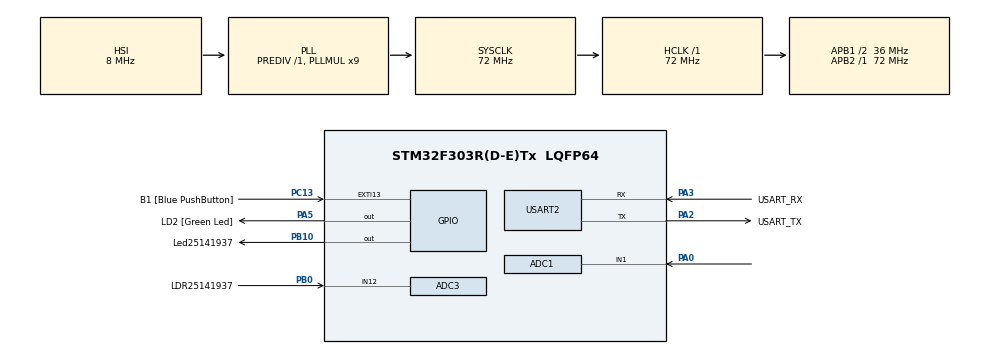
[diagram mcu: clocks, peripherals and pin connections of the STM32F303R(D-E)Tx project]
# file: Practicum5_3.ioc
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ADC1.Channel-0\#ChannelRegularConversion=ADC_CHANNEL_1
ADC1.NbrOfConversionFlag=1
ADC1.Offset-0\#ChannelRegularConversion=0
ADC1.OffsetNumber-0\#ChannelRegularConversion=ADC_OFFSET_NONE
ADC1.Rank-0\#ChannelRegularConversion=1
ADC1.SamplingTime-0\#ChannelRegularConversion=ADC_SAMPLETIME_1CYCLE_5
ADC1.master=1
ADC3.Channel-0\#ChannelRegularConversion=ADC_CHANNEL_12
ADC3.NbrOfConversionFlag=1
ADC3.Offset-0\#ChannelRegularConversion=0
ADC3.OffsetNumber-0\#ChannelRegularConversion=ADC_OFFSET_NONE
ADC3.Rank-0\#ChannelRegularConversion=1
ADC3.SamplingTime-0\#ChannelRegularConversion=ADC_SAMPLETIME_1CYCLE_5
ADC3.SamplingTimeOPAMP-0\#ChannelRegularConversion=ADC_SAMPLETIME_61CYCLES_5
ADC3.master=1
Mcu.Family=STM32F3
Mcu.Name=STM32F303R(D-E)Tx
Mcu.Package=LQFP64
NVIC.PriorityGroup=NVIC_PRIORITYGROUP_0
PA0.Mode=IN1-Single-Ended
PA0.Signal=ADC1_IN1
PA13.GPIO_Label=TMS
PA13.Mode=Serial_Wire
PA13.Signal=SYS_JTMS-SWDIO
PA14.GPIO_Label=TCK
PA14.Mode=Serial_Wire
PA14.Signal=SYS_JTCK-SWCLK
PA2.GPIO_Label=USART_TX
PA2.GPIO_Mode=GPIO_MODE_AF_PP
PA2.GPIO_PuPd=GPIO_NOPULL
PA2.GPIO_Speed=GPIO_SPEED_FREQ_LOW
PA2.Mode=Asynchronous
PA2.Signal=USART2_TX
PA3.GPIO_Label=USART_RX
PA3.GPIO_Mode=GPIO_MODE_AF_PP
PA3.GPIO_PuPd=GPIO_NOPULL
PA3.GPIO_Speed=GPIO_SPEED_FREQ_LOW
PA3.Mode=Asynchronous
PA3.Signal=USART2_RX
PA5.GPIO_Label=LD2 [Green Led]
PA5.GPIO_Mode=GPIO_MODE_OUTPUT_PP
PA5.GPIO_PuPd=GPIO_NOPULL
PA5.GPIO_Speed=GPIO_SPEED_FREQ_LOW
PA5.Signal=GPIO_Output
PB0.GPIO_Label=LDR25141937
PB0.Mode=IN12-Single-Ended
PB0.Signal=ADC3_IN12
PB10.GPIO_Label=Led25141937
PB10.Signal=GPIO_Output
PB3.GPIO_Label=SWO
PB3.Signal=SYS_JTDO-TRACESWO
PC13.GPIO_Label=B1 [Blue PushButton]
PC13.GPIO_ModeDefaultEXTI=GPIO_MODE_IT_FALLING
PC13.Signal=GPXTI13
PC14-OSC32_IN.Mode=LSE-External-Oscillator
PC14-OSC32_IN.Signal=RCC_OSC32_IN
PC15-OSC32_OUT.Mode=LSE-External-Oscillator
PC15-OSC32_OUT.Signal=RCC_OSC32_OUT
PF0-OSC_IN.Mode=HSE-External-Clock-Source
PF0-OSC_IN.Signal=RCC_OSC_IN
PF1-OSC_OUT.Signal=RCC_OSC_OUT
ProjectManager.HeapSize=0x200
ProjectManager.StackSize=0x400
ProjectManager.TargetToolchain=STM32CubeIDE
RCC.AHBFreq_Value=72000000
RCC.APB1CLKDivider=RCC_HCLK_DIV2
RCC.APB1Freq_Value=36000000
RCC.APB1TimFreq_Value=72000000
RCC.APB2Freq_Value=72000000
RCC.APB2TimFreq_Value=72000000
RCC.CortexFreq_Value=72000000
RCC.HCLKFreq_Value=72000000
RCC.HSE_VALUE=8000000
RCC.HSI_VALUE=8000000
RCC.PLLM=8
RCC.PLLMUL=RCC_PLL_MUL9
RCC.PLLN=336
RCC.PLLP=RCC_PLLP_DIV4
RCC.PLLQ=7
RCC.RCC_PLLsource_Clock_Source_FROM_HSE=RCC_HSE_PREDIV_DIV2
RCC.SYSCLKFreq_VALUE=72000000
RCC.SYSCLKSourceVirtual=RCC_SYSCLKSOURCE_PLLCLK
RCC.USBFreq_Value=72000000
USART2.VirtualMode-Asynchronous=VM_ASYNC
board=NUCLEO-F303RE

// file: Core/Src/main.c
/* USER CODE BEGIN Header */
/**
  ******************************************************************************
  * @file           : main.c
  * @brief          : Main program body
  ******************************************************************************
  * @attention
  *
  * Copyright (c) 2026 STMicroelectronics.
  * All rights reserved.
  *
  * This software is licensed under terms that can be found in the LICENSE file
  * in the root directory of this software component.
  * If no LICENSE file comes with this software, it is provided AS-IS.
  *
  ******************************************************************************
  */
/* USER CODE END Header */
#include "main.h"

/* USER CODE BEGIN Includes */
#include <stdio.h>
/* USER CODE END Includes */

ADC_HandleTypeDef hadc1;
ADC_HandleTypeDef hadc3;

UART_HandleTypeDef huart2;

void SystemClock_Config(void);
static void MX_GPIO_Init(void);
static void MX_ADC1_Init(void);
static void MX_ADC3_Init(void);
static void MX_USART2_UART_Init(void);

/* USER CODE BEGIN 0 */

uint32_t potValue = 0;
uint32_t ldrValue = 0;
uint32_t drempel = 0;

uint8_t ledState = 0;       /* voor hysterese*/
uint32_t hysterese = 120;   /*de brandbreedte (marge) rond de drempel */

char buffer[50]; /* om waarden om te zetten naar tekst */
int len;

uint32_t readADC(ADC_HandleTypeDef *hadc)
{
    HAL_ADC_Start(hadc);
    HAL_ADC_PollForConversion(hadc, HAL_MAX_DELAY);
    uint32_t val = HAL_ADC_GetValue(hadc);
    HAL_ADC_Stop(hadc);
    return val;
}

/* USER CODE END 0 */

int main(void)
{

  /* MCU Configuration--------------------------------------------------------*/

  /* Reset of all peripherals, Initializes the Flash interface and the Systick. */
  HAL_Init();

  /* Configure the system clock */
  SystemClock_Config();

  /* Initialize all configured peripherals */
  MX_GPIO_Init();
  MX_ADC1_Init();
  MX_ADC3_Init();
  MX_USART2_UART_Init();
  /* USER CODE BEGIN 2 */

  len = snprintf(buffer, sizeof(buffer), "Start Opdracht 5.3\r\n");
  HAL_UART_Transmit(&huart2, (uint8_t*)buffer, len, HAL_MAX_DELAY);

  /* USER CODE END 2 */

  /* Infinite loop */
  while (1)
  {

    /* USER CODE BEGIN 3 */

	  ADC_ChannelConfTypeDef sConfig = {0}; /*Declareert een structuur "sConfig" voor ADC kanaalinstellingen en zet alle velden op 0 -> voorkomt rommelwaarden */
	  sConfig.Channel = ADC_CHANNEL_1; /* Potmeter aangesloten op kanaal 1 */
	  sConfig.Rank = ADC_REGULAR_RANK_1; /* kanaal wordt het eerste (en enige) kanaal in reguliere conversie */
	  sConfig.SamplingTime = ADC_SAMPLETIME_19CYCLES_5; /*Hoe lang de ADC meet voordat hij ene waarde vastlegt */
	  HAL_ADC_ConfigChannel(&hadc1, &sConfig);

	  potValue = readADC(&hadc1); /*roept de functie aan */
	  drempel = potValue; /*Zet drempelwaarde gelijk aan de potmeter */

	  sConfig.Channel = ADC_CHANNEL_12; /*Verandert alleen het kanaal */
	  HAL_ADC_ConfigChannel(&hadc3, &sConfig);

	  ldrValue = readADC(&hadc3); /*ADC3 wordt gestart, LDR-waarde wordt gemeten */

	  if (!ledState && ldrValue < (drempel - hysterese)) /*Als LED uit is en de LDR-waarde is lager dan de drempel min de hysterese */
	  {

	      HAL_GPIO_WritePin(GPIOB, Led25141937_Pin, GPIO_PIN_SET);
		  ledState = 1; /*slaat de toestand op in ledState */
	  }
	  else if (ledState && ldrValue > (drempel + hysterese)) /*Als de LED aan is en de LDR-waarde is hoger dan de drempel plus de hysterese */
	  {
		  HAL_GPIO_WritePin(GPIOB, Led25141937_Pin, GPIO_PIN_RESET);
		  ledState = 0;
	  }

	  len = snprintf(buffer, sizeof(buffer), "POT=%lu  LDR=%lu  DREMPEL=%lu  LED=%d\r\n", potValue, ldrValue, drempel, ledState);
	  HAL_UART_Transmit(&huart2, (uint8_t*)buffer, len, HAL_MAX_DELAY);
	  HAL_Delay(500);

  }
  /* USER CODE END 3 */
}

void SystemClock_Config(void)
{
  RCC_OscInitTypeDef RCC_OscInitStruct = {0};
  RCC_ClkInitTypeDef RCC_ClkInitStruct = {0};
  RCC_PeriphCLKInitTypeDef PeriphClkInit = {0};

  /** Initializes the RCC Oscillators according to the specified parameters
  * in the RCC_OscInitTypeDef structure.
  */
  RCC_OscInitStruct.OscillatorType = RCC_OSCILLATORTYPE_HSI;
  RCC_OscInitStruct.HSIState = RCC_HSI_ON;
  RCC_OscInitStruct.HSICalibrationValue = RCC_HSICALIBRATION_DEFAULT;
  RCC_OscInitStruct.PLL.PLLState = RCC_PLL_ON;
  RCC_OscInitStruct.PLL.PLLSource = RCC_PLLSOURCE_HSI;
  RCC_OscInitStruct.PLL.PLLMUL = RCC_PLL_MUL9;
  RCC_OscInitStruct.PLL.PREDIV = RCC_PREDIV_DIV1;
  if (HAL_RCC_OscConfig(&RCC_OscInitStruct) != HAL_OK)
  {
    Error_Handler();
  }

  /** Initializes the CPU, AHB and APB buses clocks
  */
  RCC_ClkInitStruct.ClockType = RCC_CLOCKTYPE_HCLK|RCC_CLOCKTYPE_SYSCLK
                              |RCC_CLOCKTYPE_PCLK1|RCC_CLOCKTYPE_PCLK2;
  RCC_ClkInitStruct.SYSCLKSource = RCC_SYSCLKSOURCE_PLLCLK;
  RCC_ClkInitStruct.AHBCLKDivider = RCC_SYSCLK_DIV1;
  RCC_ClkInitStruct.APB1CLKDivider = RCC_HCLK_DIV2;
  RCC_ClkInitStruct.APB2CLKDivider = RCC_HCLK_DIV1;

  if (HAL_RCC_ClockConfig(&RCC_ClkInitStruct, FLASH_LATENCY_2) != HAL_OK)
  {
    Error_Handler();
  }
  PeriphClkInit.PeriphClockSelection = RCC_PERIPHCLK_USART2|RCC_PERIPHCLK_ADC12
                              |RCC_PERIPHCLK_ADC34;
  PeriphClkInit.Usart2ClockSelection = RCC_USART2CLKSOURCE_PCLK1;
  PeriphClkInit.Adc12ClockSelection = RCC_ADC12PLLCLK_DIV1;
  PeriphClkInit.Adc34ClockSelection = RCC_ADC34PLLCLK_DIV1;
  if (HAL_RCCEx_PeriphCLKConfig(&PeriphClkInit) != HAL_OK)
  {
    Error_Handler();
  }
}

static void MX_ADC1_Init(void)
{

  ADC_MultiModeTypeDef multimode = {0};
  ADC_ChannelConfTypeDef sConfig = {0};

  /** Common config
  */
  hadc1.Instance = ADC1;
  hadc1.Init.ClockPrescaler = ADC_CLOCK_ASYNC_DIV1;
  hadc1.Init.Resolution = ADC_RESOLUTION_12B;
  hadc1.Init.ScanConvMode = ADC_SCAN_DISABLE;
  hadc1.Init.ContinuousConvMode = DISABLE;
  hadc1.Init.DiscontinuousConvMode = DISABLE;
  hadc1.Init.ExternalTrigConvEdge = ADC_EXTERNALTRIGCONVEDGE_NONE;
  hadc1.Init.ExternalTrigConv = ADC_SOFTWARE_START;
  hadc1.Init.DataAlign = ADC_DATAALIGN_RIGHT;
  hadc1.Init.NbrOfConversion = 1;
  hadc1.Init.DMAContinuousRequests = DISABLE;
  hadc1.Init.EOCSelection = ADC_EOC_SINGLE_CONV;
  hadc1.Init.LowPowerAutoWait = DISABLE;
  hadc1.Init.Overrun = ADC_OVR_DATA_OVERWRITTEN;
  if (HAL_ADC_Init(&hadc1) != HAL_OK)
  {
    Error_Handler();
  }

  /** Configure the ADC multi-mode
  */
  multimode.Mode = ADC_MODE_INDEPENDENT;
  if (HAL_ADCEx_MultiModeConfigChannel(&hadc1, &multimode) != HAL_OK)
  {
    Error_Handler();
  }

  /** Configure Regular Channel
  */
  sConfig.Channel = ADC_CHANNEL_1;
  sConfig.Rank = ADC_REGULAR_RANK_1;
  sConfig.SingleDiff = ADC_SINGLE_ENDED;
  sConfig.SamplingTime = ADC_SAMPLETIME_1CYCLE_5;
  sConfig.OffsetNumber = ADC_OFFSET_NONE;
  sConfig.Offset = 0;
  if (HAL_ADC_ConfigChannel(&hadc1, &sConfig) != HAL_OK)
  {
    Error_Handler();
  }

}

static void MX_ADC3_Init(void)
{

  ADC_MultiModeTypeDef multimode = {0};
  ADC_ChannelConfTypeDef sConfig = {0};

  /** Common config
  */
  hadc3.Instance = ADC3;
  hadc3.Init.ClockPrescaler = ADC_CLOCK_ASYNC_DIV1;
  hadc3.Init.Resolution = ADC_RESOLUTION_12B;
  hadc3.Init.ScanConvMode = ADC_SCAN_DISABLE;
  hadc3.Init.ContinuousConvMode = DISABLE;
  hadc3.Init.DiscontinuousConvMode = DISABLE;
  hadc3.Init.ExternalTrigConvEdge = ADC_EXTERNALTRIGCONVEDGE_NONE;
  hadc3.Init.ExternalTrigConv = ADC_SOFTWARE_START;
  hadc3.Init.DataAlign = ADC_DATAALIGN_RIGHT;
  hadc3.Init.NbrOfConversion = 1;
  hadc3.Init.DMAContinuousRequests = DISABLE;
  hadc3.Init.EOCSelection = ADC_EOC_SINGLE_CONV;
  hadc3.Init.LowPowerAutoWait = DISABLE;
  hadc3.Init.Overrun = ADC_OVR_DATA_OVERWRITTEN;
  if (HAL_ADC_Init(&hadc3) != HAL_OK)
  {
    Error_Handler();
  }

  /** Configure the ADC multi-mode
  */
  multimode.Mode = ADC_MODE_INDEPENDENT;
  if (HAL_ADCEx_MultiModeConfigChannel(&hadc3, &multimode) != HAL_OK)
  {
    Error_Handler();
  }

  /** Configure Regular Channel
  */
  sConfig.Channel = ADC_CHANNEL_12;
  sConfig.Rank = ADC_REGULAR_RANK_1;
  sConfig.SingleDiff = ADC_SINGLE_ENDED;
  sConfig.SamplingTime = ADC_SAMPLETIME_1CYCLE_5;
  sConfig.OffsetNumber = ADC_OFFSET_NONE;
  sConfig.Offset = 0;
  if (HAL_ADC_ConfigChannel(&hadc3, &sConfig) != HAL_OK)
  {
    Error_Handler();
  }

}

static void MX_USART2_UART_Init(void)
{

  huart2.Instance = USART2;
  huart2.Init.BaudRate = 38400;
  huart2.Init.WordLength = UART_WORDLENGTH_8B;
  huart2.Init.StopBits = UART_STOPBITS_1;
  huart2.Init.Parity = UART_PARITY_NONE;
  huart2.Init.Mode = UART_MODE_TX_RX;
  huart2.Init.HwFlowCtl = UART_HWCONTROL_NONE;
  huart2.Init.OverSampling = UART_OVERSAMPLING_16;
  huart2.Init.OneBitSampling = UART_ONE_BIT_SAMPLE_DISABLE;
  huart2.AdvancedInit.AdvFeatureInit = UART_ADVFEATURE_NO_INIT;
  if (HAL_UART_Init(&huart2) != HAL_OK)
  {
    Error_Handler();
  }

}

static void MX_GPIO_Init(void)
{
  GPIO_InitTypeDef GPIO_InitStruct = {0};

  /* GPIO Ports Clock Enable */
  __HAL_RCC_GPIOC_CLK_ENABLE();
  __HAL_RCC_GPIOF_CLK_ENABLE();
  __HAL_RCC_GPIOA_CLK_ENABLE();
  __HAL_RCC_GPIOB_CLK_ENABLE();

  /*Configure GPIO pin Output Level */
  HAL_GPIO_WritePin(LD2_GPIO_Port, LD2_Pin, GPIO_PIN_RESET);

  /*Configure GPIO pin Output Level */
  HAL_GPIO_WritePin(Led25141937_GPIO_Port, Led25141937_Pin, GPIO_PIN_RESET);

  /*Configure GPIO pin : B1_Pin */
  GPIO_InitStruct.Pin = B1_Pin;
  GPIO_InitStruct.Mode = GPIO_MODE_IT_FALLING;
  GPIO_InitStruct.Pull = GPIO_NOPULL;
  HAL_GPIO_Init(B1_GPIO_Port, &GPIO_InitStruct);

  /*Configure GPIO pin : LD2_Pin */
  GPIO_InitStruct.Pin = LD2_Pin;
  GPIO_InitStruct.Mode = GPIO_MODE_OUTPUT_PP;
  GPIO_InitStruct.Pull = GPIO_NOPULL;
  GPIO_InitStruct.Speed = GPIO_SPEED_FREQ_LOW;
  HAL_GPIO_Init(LD2_GPIO_Port, &GPIO_InitStruct);

  /*Configure GPIO pin : Led25141937_Pin */
  GPIO_InitStruct.Pin = Led25141937_Pin;
  GPIO_InitStruct.Mode = GPIO_MODE_OUTPUT_PP;
  GPIO_InitStruct.Pull = GPIO_NOPULL;
  GPIO_InitStruct.Speed = GPIO_SPEED_FREQ_LOW;
  HAL_GPIO_Init(Led25141937_GPIO_Port, &GPIO_InitStruct);

}

void Error_Handler(void)
{
  __disable_irq();
  while (1)
  {
  }
}
